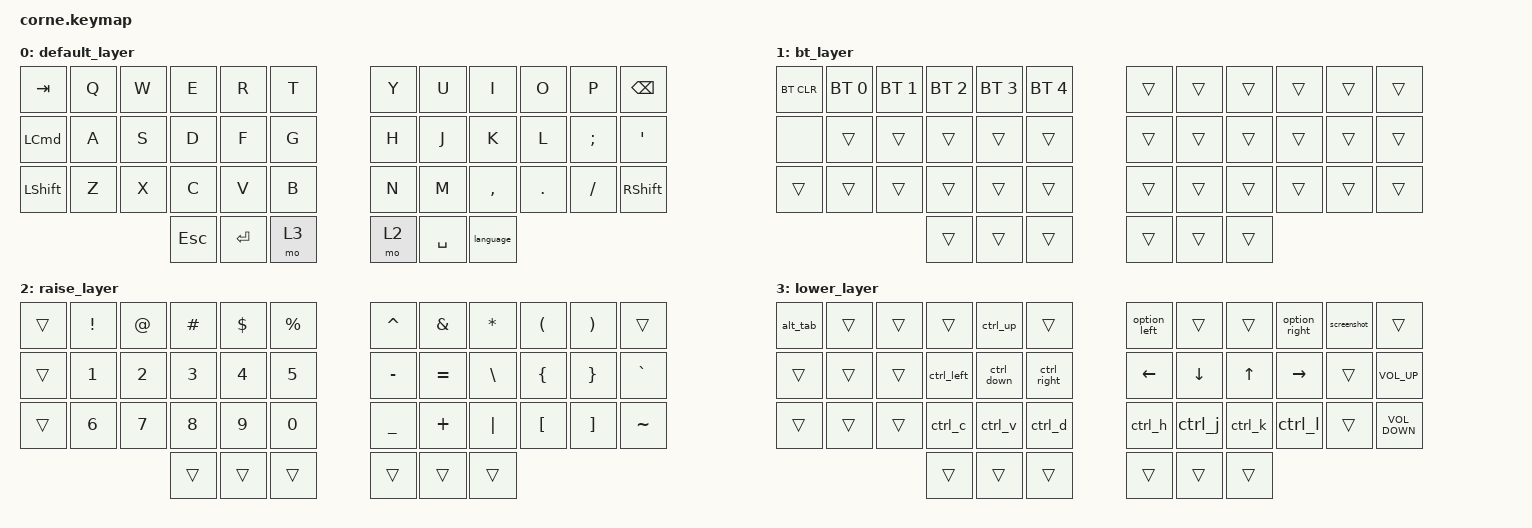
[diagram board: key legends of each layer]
/*
 * Copyright (c) 2020 The ZMK Contributors
 *
 * SPDX-License-Identifier: MIT
 */

#include <behaviors.dtsi>
#include <dt-bindings/zmk/bt.h>
#include <dt-bindings/zmk/keys.h>

/ {
    macros {
        dashboard: dashboard {
            compatible = "zmk,behavior-macro";
            label = "DASHBOARD";
            #binding-cells = <0>;
            bindings =
                <&macro_press>,
                <&kp LGUI>,
                <&macro_tap>,
                <&kp A>,
                <&macro_release>,
                <&kp LGUI>;
        };

        language: language {
            compatible = "zmk,behavior-macro";
            label = "LANGUAGE";
            #binding-cells = <0>;
            bindings =
                <&macro_press>,
                <&kp LGUI>,
                <&macro_tap>,
                <&kp SPACE>,
                <&macro_release>,
                <&kp LGUI>,
                <&macro_wait_time 100>,
                <&macro_tap>,
                <&kp INT_KATAKANAHIRAGANA>;
        };

        alt_tab: alt_tab {
            compatible = "zmk,behavior-macro";
            label = "ALT_TAB";
            #binding-cells = <0>;
            bindings =
                <&macro_press>,
                <&kp LEFT_ALT>,
                <&macro_tap>,
                <&kp TAB>,
                <&macro_release>,
                <&kp LALT>;
        };

        screenshot: screenshot {
            compatible = "zmk,behavior-macro";
            #binding-cells = <0>;
            bindings =
                <&kp LEFT_COMMAND &kp LEFT_SHIFT>,
                <&macro_wait_time 5>,
                <&kp NUMBER_4>;

            label = "SCREENSHOT";
        };

        ctrl_right: ctrl_right {
            compatible = "zmk,behavior-macro";
            #binding-cells = <0>;
            bindings =
                <&macro_press>,
                <&kp LEFT_CONTROL>,
                <&macro_tap>,
                <&kp RIGHT>,
                <&macro_release>,
                <&kp LEFT_CONTROL>;

            label = "CTRL_RIGHT";
        };

        ctrl_left: ctrl_left {
            compatible = "zmk,behavior-macro";
            #binding-cells = <0>;
            bindings =
                <&macro_press>,
                <&kp LEFT_CONTROL>,
                <&macro_tap>,
                <&kp LEFT>,
                <&macro_release>,
                <&kp LEFT_CONTROL>;

            label = "CTRL_LEFT";
        };

        ctrl_up: ctrl_up {
            compatible = "zmk,behavior-macro";
            #binding-cells = <0>;
            bindings =
                <&macro_press>,
                <&kp LEFT_CONTROL>,
                <&macro_tap>,
                <&kp UP>,
                <&macro_release>,
                <&kp LEFT_CONTROL>;

            label = "CTRL_UP";
        };

        ctrl_down: ctrl_down {
            compatible = "zmk,behavior-macro";
            #binding-cells = <0>;
            bindings =
                <&macro_press>,
                <&kp LEFT_CONTROL>,
                <&macro_tap>,
                <&kp DOWN>,
                <&macro_release>,
                <&kp LEFT_CONTROL>;

            label = "CTRL_DOWN";
        };

        ctrl_h: ctrl_h {
            compatible = "zmk,behavior-macro";
            #binding-cells = <0>;
            bindings =
                <&macro_press>,
                <&kp LEFT_CONTROL>,
                <&macro_tap>,
                <&kp H>,
                <&macro_release>,
                <&kp LEFT_CONTROL>;

            label = "CTRL_H";
        };

        ctrl_j: ctrl_j {
            compatible = "zmk,behavior-macro";
            #binding-cells = <0>;
            bindings =
                <&macro_press>,
                <&kp LEFT_CONTROL>,
                <&macro_tap>,
                <&kp J>,
                <&macro_release>,
                <&kp LEFT_CONTROL>;

            label = "CTRL_J";
        };

        ctrl_k: ctrl_k {
            compatible = "zmk,behavior-macro";
            #binding-cells = <0>;
            bindings =
                <&macro_press>,
                <&kp LEFT_CONTROL>,
                <&macro_tap>,
                <&kp K>,
                <&macro_release>,
                <&kp LEFT_CONTROL>;

            label = "CTRL_K";
        };

        ctrl_l: ctrl_l {
            compatible = "zmk,behavior-macro";
            #binding-cells = <0>;
            bindings =
                <&macro_press>,
                <&kp LEFT_CONTROL>,
                <&macro_tap>,
                <&kp L>,
                <&macro_release>,
                <&kp LEFT_CONTROL>;

            label = "CTRL_L";
        };

        ctrl_c: ctrl_c {
            compatible = "zmk,behavior-macro";
            #binding-cells = <0>;
            bindings =
                <&macro_press>,
                <&kp LEFT_CONTROL>,
                <&macro_tap>,
                <&kp C>,
                <&macro_release>,
                <&kp LEFT_CONTROL>;

            label = "CTRL_C";
        };

        ctrl_v: ctrl_v {
            compatible = "zmk,behavior-macro";
            #binding-cells = <0>;
            bindings =
                <&macro_press>,
                <&kp LEFT_CONTROL>,
                <&macro_tap>,
                <&kp V>,
                <&macro_release>,
                <&kp LEFT_CONTROL>;

            label = "CTRL_V";
        };

        ctrl_d: ctrl_d {
            compatible = "zmk,behavior-macro";
            #binding-cells = <0>;
            bindings =
                <&macro_press>,
                <&kp LEFT_CONTROL>,
                <&macro_tap>,
                <&kp D>,
                <&macro_release>,
                <&kp LEFT_CONTROL>;

            label = "CTRL_D";
        };

        option_right: option_right {
            compatible = "zmk,behavior-macro";
            #binding-cells = <0>;
            bindings =
                <&macro_press>,
                <&kp LEFT_ALT>,
                <&macro_tap>,
                <&kp RIGHT>,
                <&macro_release>,
                <&kp LEFT_ALT>;

            label = "OPTION_RIGHT";
        };

        option_left: option_left {
            compatible = "zmk,behavior-macro";
            #binding-cells = <0>;
            bindings =
                <&macro_press>,
                <&kp LEFT_ALT>,
                <&macro_tap>,
                <&kp LEFT>,
                <&macro_release>,
                <&kp LEFT_ALT>;

            label = "OPTION_LEFT";
        };
    };

    combos {
        compatible = "zmk,combos";

        switch_normal_bt {
            bindings = <&tog 1>;
            key-positions = <24 35>;
        };
    };

    keymap {
        compatible = "zmk,keymap";

        default_layer {
            // -----------------------------------------------------------------------------------------
            // |  TAB |  Q  |  W  |  E  |  R  |  T  |   |  Y  |  U   |  I  |  O  |  P  | BKSP |
            // | CTRL |  A  |  S  |  D  |  F  |  G  |   |  H  |  J   |  K  |  L  |  ;  |  '   |
            // | SHFT |  Z  |  X  |  C  |  V  |  B  |   |  N  |  M   |  ,  |  .  |  /  | ESC  |
            //                    | GUI | LWR | SPC |   | ENT | RSE  | ALT |

            bindings = <
&kp TAB           &kp Q  &kp W  &kp E       &kp R      &kp T    &kp Y  &kp U      &kp I      &kp O    &kp P     &kp BACKSPACE
&kp LEFT_COMMAND  &kp A  &kp S  &kp D       &kp F      &kp G    &kp H  &kp J      &kp K      &kp L    &kp SEMI  &kp SQT
&kp LSHFT         &kp Z  &kp X  &kp C       &kp V      &kp B    &kp N  &kp M      &kp COMMA  &kp DOT  &kp FSLH  &kp RIGHT_SHIFT
                                &kp ESCAPE  &kp ENTER  &mo 3    &mo 2  &kp SPACE  &language
            >;
        };

        bt_layer {
            bindings = <
&bt BT_CLR  &bt BT_SEL 0  &bt BT_SEL 1  &bt BT_SEL 2  &bt BT_SEL 3  &bt BT_SEL 4    &trans  &trans  &trans  &trans  &trans  &trans
&none       &trans        &trans        &trans        &trans        &trans          &trans  &trans  &trans  &trans  &trans  &trans
&trans      &trans        &trans        &trans        &trans        &trans          &trans  &trans  &trans  &trans  &trans  &trans
                                        &trans        &trans        &trans          &trans  &trans  &trans
            >;
        };

        raise_layer {
            // -----------------------------------------------------------------------------------------
            // |  TAB |  !  |  @  |  #  |  $  |  %  |   |  ^  |  &  |  *  |  (  |  )  | BKSP |
            // | CTRL |     |     |     |     |     |   |  -  |  =  |  [  |  ]  |  \  |  `   |
            // | SHFT |     |     |     |     |     |   |  _  |  +  |  {  |  }  | "|" |  ~   |
            //                    | GUI |     | SPC |   | ENT |     | ALT |

            bindings = <
&trans  &kp EXCL      &kp AT        &kp HASH      &kp DOLLAR    &kp PERCENT     &kp CARET  &kp AMPERSAND  &kp ASTERISK   &kp LEFT_PARENTHESIS  &kp RIGHT_PARENTHESIS  &trans
&trans  &kp NUMBER_1  &kp NUMBER_2  &kp NUMBER_3  &kp NUMBER_4  &kp NUMBER_5    &kp MINUS  &kp EQUAL      &kp BACKSLASH  &kp LBRC              &kp RBRC               &kp GRAVE
&trans  &kp NUMBER_6  &kp NUMBER_7  &kp NUMBER_8  &kp NUMBER_9  &kp NUMBER_0    &kp UNDER  &kp PLUS       &kp PIPE       &kp LEFT_BRACKET      &kp RIGHT_BRACKET      &kp TILDE
                                    &trans        &trans        &trans          &trans     &trans         &trans
            >;
        };

        lower_layer {
            // -----------------------------------------------------------------------------------------
            // |  TAB |  1  |  2  |  3  |  4  |  5  |   |  6  |  7  |  8  |  9  |  0  | BKSP |
            // | BTCLR| BT1 | BT2 | BT3 | BT4 | BT5 |   | LFT | DWN |  UP | RGT |     |      |
            // | SHFT |     |     |     |     |     |   |     |     |     |     |     |      |
            //                    | GUI |     | SPC |   | ENT |     | ALT |

            bindings = <
&alt_tab  &trans  &trans  &trans      &ctrl_up    &trans         &option_left  &trans    &trans   &option_right  &screenshot  &trans
&trans    &trans  &trans  &ctrl_left  &ctrl_down  &ctrl_right    &kp LEFT      &kp DOWN  &kp UP   &kp RIGHT      &trans       &kp C_VOLUME_UP
&trans    &trans  &trans  &ctrl_c     &ctrl_v     &ctrl_d        &ctrl_h       &ctrl_j   &ctrl_k  &ctrl_l        &trans       &kp C_VOLUME_DOWN
                          &trans      &trans      &trans         &trans        &trans    &trans
            >;
        };
    };
};
